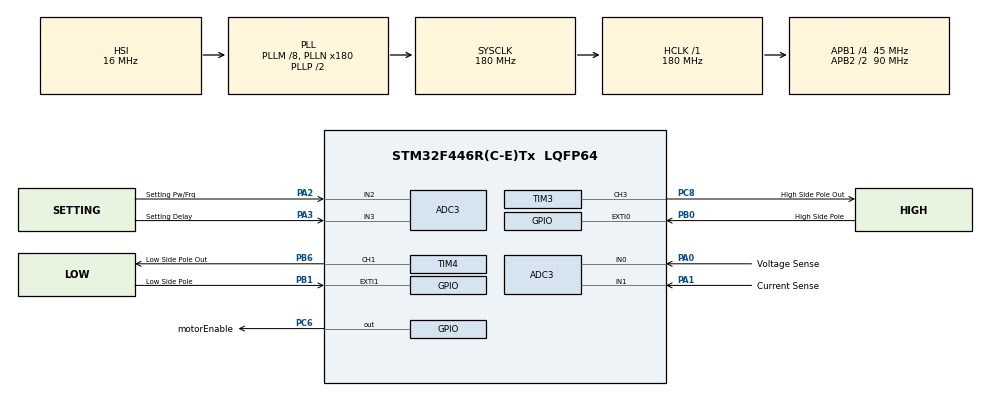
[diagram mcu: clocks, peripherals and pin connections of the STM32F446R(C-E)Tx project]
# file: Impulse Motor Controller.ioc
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ADC3.Channel-0\#ChannelRegularConversion=ADC_CHANNEL_0
ADC3.Channel-1\#ChannelRegularConversion=ADC_CHANNEL_1
ADC3.Channel-2\#ChannelRegularConversion=ADC_CHANNEL_2
ADC3.Channel-3\#ChannelRegularConversion=ADC_CHANNEL_3
ADC3.ContinuousConvMode=ENABLE
ADC3.EOCSelection=ADC_EOC_SEQ_CONV
ADC3.NbrOfConversion=4
ADC3.NbrOfConversionFlag=1
ADC3.Rank-0\#ChannelRegularConversion=1
ADC3.Rank-1\#ChannelRegularConversion=2
ADC3.Rank-2\#ChannelRegularConversion=3
ADC3.Rank-3\#ChannelRegularConversion=4
ADC3.SamplingTime-0\#ChannelRegularConversion=ADC_SAMPLETIME_15CYCLES
ADC3.SamplingTime-1\#ChannelRegularConversion=ADC_SAMPLETIME_15CYCLES
ADC3.SamplingTime-2\#ChannelRegularConversion=ADC_SAMPLETIME_15CYCLES
ADC3.SamplingTime-3\#ChannelRegularConversion=ADC_SAMPLETIME_15CYCLES
Dma.ADC3.0.Direction=DMA_PERIPH_TO_MEMORY
Dma.ADC3.0.FIFOMode=DMA_FIFOMODE_DISABLE
Dma.ADC3.0.Instance=DMA2_Stream0
Dma.ADC3.0.MemDataAlignment=DMA_MDATAALIGN_HALFWORD
Dma.ADC3.0.MemInc=DMA_MINC_ENABLE
Dma.ADC3.0.Mode=DMA_CIRCULAR
Dma.ADC3.0.PeriphDataAlignment=DMA_PDATAALIGN_HALFWORD
Dma.ADC3.0.PeriphInc=DMA_PINC_DISABLE
Dma.ADC3.0.Priority=DMA_PRIORITY_MEDIUM
Dma.Request0=ADC3
Mcu.Family=STM32F4
Mcu.Name=STM32F446R(C-E)Tx
Mcu.Package=LQFP64
NVIC.DMA2_Stream0_IRQn=true\:0\:0\:false\:false\:true\:false\:true\:true
NVIC.EXTI0_IRQn=true\:0\:0\:false\:false\:true\:true\:true\:true
NVIC.EXTI1_IRQn=true\:0\:0\:false\:false\:true\:true\:true\:true
NVIC.PriorityGroup=NVIC_PRIORITYGROUP_4
PA0-WKUP.GPIO_Label=Voltage Sense
PA0-WKUP.Signal=ADCx_IN0
PA1.GPIO_Label=Current Sense
PA1.Signal=ADCx_IN1
PA2.GPIO_Label=Setting Pw/Frq
PA2.Signal=ADCx_IN2
PA3.GPIO_Label=Setting Delay
PA3.Signal=ADCx_IN3
PB0.GPIO_Label=High Side Pole
PB0.GPIO_ModeDefaultEXTI=GPIO_MODE_IT_FALLING
PB0.Signal=GPXTI0
PB1.GPIO_Label=Low Side Pole
PB1.GPIO_ModeDefaultEXTI=GPIO_MODE_IT_FALLING
PB1.Signal=GPXTI1
PB6.GPIO_Label=Low Side Pole Out
PB6.GPIO_Speed=GPIO_SPEED_FREQ_VERY_HIGH
PB6.Signal=S_TIM4_CH1
PC6.GPIO_Label=motorEnable
PC6.PinState=GPIO_PIN_SET
PC6.Signal=GPIO_Output
PC8.GPIO_Label=High Side Pole Out
PC8.GPIO_Speed=GPIO_SPEED_FREQ_VERY_HIGH
PC8.Signal=S_TIM3_CH3
ProjectManager.HeapSize=0x200
ProjectManager.StackSize=0x400
ProjectManager.TargetToolchain=MDK-ARM V5.32
RCC.AHBFreq_Value=180000000
RCC.APB1CLKDivider=RCC_HCLK_DIV4
RCC.APB1Freq_Value=45000000
RCC.APB1TimFreq_Value=90000000
RCC.APB2CLKDivider=RCC_HCLK_DIV2
RCC.APB2Freq_Value=90000000
RCC.APB2TimFreq_Value=180000000
RCC.CortexFreq_Value=180000000
RCC.HCLKFreq_Value=180000000
RCC.PLLM=8
RCC.PLLN=180
RCC.SYSCLKFreq_VALUE=180000000
RCC.SYSCLKSource=RCC_SYSCLKSOURCE_PLLCLK
RCC.USBFreq_Value=180000000
RCC.VCOOutputFreq_Value=360000000
SH.ADCx_IN0.0=ADC3_IN0,IN0
SH.ADCx_IN1.0=ADC3_IN1,IN1
SH.ADCx_IN2.0=ADC3_IN2,IN2
SH.ADCx_IN3.0=ADC3_IN3,IN3
SH.S_TIM3_CH3.0=TIM3_CH3,PWM Generation3 CH3
SH.S_TIM4_CH1.0=TIM4_CH1,PWM Generation1 CH1
TIM3.AutoReloadPreload=TIM_AUTORELOAD_PRELOAD_ENABLE
TIM3.Channel-PWM\ Generation3\ CH3=TIM_CHANNEL_3
TIM3.OC3Preload_PWM=ENABLE
TIM3.OCMode_PWM-PWM\ Generation3\ CH3=TIM_OCMODE_PWM1
TIM3.OCPolarity_3=TIM_OCPOLARITY_LOW
TIM3.Period=65535
TIM3.Prescaler=180-1
TIM3.Pulse-PWM\ Generation3\ CH3=1
TIM4.AutoReloadPreload=TIM_AUTORELOAD_PRELOAD_ENABLE
TIM4.Channel-PWM\ Generation1\ CH1=TIM_CHANNEL_1
TIM4.OC1Preload_PWM=ENABLE
TIM4.OCMode_PWM-PWM\ Generation1\ CH1=TIM_OCMODE_PWM1
TIM4.OCPolarity_1=TIM_OCPOLARITY_LOW
TIM4.Period=65535
TIM4.Prescaler=180-1
TIM4.Pulse-PWM\ Generation1\ CH1=1
TIM5.AutoReloadPreload=TIM_AUTORELOAD_PRELOAD_ENABLE
TIM5.Prescaler=90-1
VP_TIM3_VS_ClockSourceINT.Mode=Internal
VP_TIM3_VS_OPM.Mode=OPM_bit
VP_TIM4_VS_ClockSourceINT.Mode=Internal
VP_TIM4_VS_OPM.Mode=OPM_bit
VP_TIM5_VS_ClockSourceINT.Mode=Internal
board=custom

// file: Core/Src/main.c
/* USER CODE BEGIN Header */
/**
  ******************************************************************************
  * @file           : main.c
  * @brief          : Main program body
  ******************************************************************************
  * @attention
  *
  * Copyright (c) 2023 STMicroelectronics.
  * All rights reserved.
  *
  * This software is licensed under terms that can be found in the LICENSE file
  * in the root directory of this software component.
  * If no LICENSE file comes with this software, it is provided AS-IS.
  *
  ******************************************************************************
  */
/* USER CODE END Header */
#include "main.h"

ADC_HandleTypeDef hadc3;
DMA_HandleTypeDef hdma_adc3;

TIM_HandleTypeDef htim3;
TIM_HandleTypeDef htim4;
TIM_HandleTypeDef htim5;

/* USER CODE BEGIN PV */

uint32_t cycleTime;
uint32_t halfTime;

uint32_t pulseDelay = 0;
uint32_t pulseWidth = 1000;

int highPulseState;
int lowPulseState;

float uniPolePass = 3.0;
float rpmPulse;
float hertzPulse;

uint32_t delaySetpoint = 0;
uint32_t widthSetpoint = 1000;

int motorEnable;
int motorRunning;
int prevMotorEnable;

float rpmSetPulse = 500;
float rpmSetPulsePrev;
float rpmActSetPulse = 500;
float rpmPulseIncremental;
float rpmPulseAttackTime = 100;
float minimumMotorFreq = 2.0;

uint32_t startupFrequency = 500000;

float error;
float cumError;
float rateError;
float lastError;
float multiplierPid;
float kp = 3.0;
float ki = 0.00045;
float kd = 0.01;
float PID_MIN = 1.0;
float PID_MAX = 1000.0;

int incrementalPulseDone;
int motorAtSpeed;

int pidEnable = 1;
int pulseCycle;
/* USER CODE END PV */

void SystemClock_Config(void);
static void MX_GPIO_Init(void);
static void MX_DMA_Init(void);
static void MX_TIM3_Init(void);
static void MX_TIM4_Init(void);
static void MX_TIM5_Init(void);
static void MX_ADC3_Init(void);
/* USER CODE BEGIN PFP */

static void pulseControl(void);
static void PIDcalculations(void);
static void RPMmotorRamp(void);
static void motorStartup(void);
static void motorRunningState(void);
static void motorCalculations(void);
static void motorEnableSafe(void);

/* USER CODE END PFP */

int main(void)
{

  /* MCU Configuration--------------------------------------------------------*/

  /* Reset of all peripherals, Initializes the Flash interface and the Systick. */
  HAL_Init();

  /* Configure the system clock */
  SystemClock_Config();

  /* Initialize all configured peripherals */
  MX_GPIO_Init();
  MX_DMA_Init();
  MX_TIM3_Init();
  MX_TIM4_Init();
  MX_TIM5_Init();
  MX_ADC3_Init();
  /* USER CODE BEGIN 2 */

	HAL_TIM_Base_Start(&htim5);
		GPIOC->BSRR |= (1<<6);
		//GPIOC->BSRR |= (1<<6) <<16;
  /* USER CODE END 2 */

  /* Infinite loop */
  while (1)
  {

    /* USER CODE BEGIN 3 */
		// handle the motor enable/disable function
		motorEnableSafe();

		// check if the motor is enabled
		if(motorEnable == 1){

			// handle the motor pulses
			pulseControl();
			// handle motor cold start
			//motorStartup();

			// check if pid is enabled
			if((pidEnable == 1)){
				// do PID calculations
				PIDcalculations();
			}

			// ramp the motor rpm setpoint
			RPMmotorRamp();
		}

		// do motor RPM calculations and motor run parameters
		motorCalculations();

		// determine and control motor state
		motorRunningState();
	}
  /* USER CODE END 3 */
}

void SystemClock_Config(void)
{
  RCC_OscInitTypeDef RCC_OscInitStruct = {0};
  RCC_ClkInitTypeDef RCC_ClkInitStruct = {0};

  /** Configure the main internal regulator output voltage
  */
  __HAL_RCC_PWR_CLK_ENABLE();
  __HAL_PWR_VOLTAGESCALING_CONFIG(PWR_REGULATOR_VOLTAGE_SCALE1);

  /** Initializes the RCC Oscillators according to the specified parameters
  * in the RCC_OscInitTypeDef structure.
  */
  RCC_OscInitStruct.OscillatorType = RCC_OSCILLATORTYPE_HSI;
  RCC_OscInitStruct.HSIState = RCC_HSI_ON;
  RCC_OscInitStruct.HSICalibrationValue = RCC_HSICALIBRATION_DEFAULT;
  RCC_OscInitStruct.PLL.PLLState = RCC_PLL_ON;
  RCC_OscInitStruct.PLL.PLLSource = RCC_PLLSOURCE_HSI;
  RCC_OscInitStruct.PLL.PLLM = 8;
  RCC_OscInitStruct.PLL.PLLN = 180;
  RCC_OscInitStruct.PLL.PLLP = RCC_PLLP_DIV2;
  RCC_OscInitStruct.PLL.PLLQ = 2;
  RCC_OscInitStruct.PLL.PLLR = 2;
  if (HAL_RCC_OscConfig(&RCC_OscInitStruct) != HAL_OK)
  {
    Error_Handler();
  }

  /** Activate the Over-Drive mode
  */
  if (HAL_PWREx_EnableOverDrive() != HAL_OK)
  {
    Error_Handler();
  }

  /** Initializes the CPU, AHB and APB buses clocks
  */
  RCC_ClkInitStruct.ClockType = RCC_CLOCKTYPE_HCLK|RCC_CLOCKTYPE_SYSCLK
                              |RCC_CLOCKTYPE_PCLK1|RCC_CLOCKTYPE_PCLK2;
  RCC_ClkInitStruct.SYSCLKSource = RCC_SYSCLKSOURCE_PLLCLK;
  RCC_ClkInitStruct.AHBCLKDivider = RCC_SYSCLK_DIV1;
  RCC_ClkInitStruct.APB1CLKDivider = RCC_HCLK_DIV4;
  RCC_ClkInitStruct.APB2CLKDivider = RCC_HCLK_DIV2;

  if (HAL_RCC_ClockConfig(&RCC_ClkInitStruct, FLASH_LATENCY_5) != HAL_OK)
  {
    Error_Handler();
  }
}

static void MX_ADC3_Init(void)
{

  ADC_ChannelConfTypeDef sConfig = {0};

  /** Configure the global features of the ADC (Clock, Resolution, Data Alignment and number of conversion)
  */
  hadc3.Instance = ADC3;
  hadc3.Init.ClockPrescaler = ADC_CLOCK_SYNC_PCLK_DIV4;
  hadc3.Init.Resolution = ADC_RESOLUTION_12B;
  hadc3.Init.ScanConvMode = ENABLE;
  hadc3.Init.ContinuousConvMode = ENABLE;
  hadc3.Init.DiscontinuousConvMode = DISABLE;
  hadc3.Init.ExternalTrigConvEdge = ADC_EXTERNALTRIGCONVEDGE_NONE;
  hadc3.Init.ExternalTrigConv = ADC_SOFTWARE_START;
  hadc3.Init.DataAlign = ADC_DATAALIGN_RIGHT;
  hadc3.Init.NbrOfConversion = 4;
  hadc3.Init.DMAContinuousRequests = DISABLE;
  hadc3.Init.EOCSelection = ADC_EOC_SEQ_CONV;
  if (HAL_ADC_Init(&hadc3) != HAL_OK)
  {
    Error_Handler();
  }

  /** Configure for the selected ADC regular channel its corresponding rank in the sequencer and its sample time.
  */
  sConfig.Channel = ADC_CHANNEL_0;
  sConfig.Rank = 1;
  sConfig.SamplingTime = ADC_SAMPLETIME_15CYCLES;
  if (HAL_ADC_ConfigChannel(&hadc3, &sConfig) != HAL_OK)
  {
    Error_Handler();
  }

  /** Configure for the selected ADC regular channel its corresponding rank in the sequencer and its sample time.
  */
  sConfig.Channel = ADC_CHANNEL_1;
  sConfig.Rank = 2;
  if (HAL_ADC_ConfigChannel(&hadc3, &sConfig) != HAL_OK)
  {
    Error_Handler();
  }

  /** Configure for the selected ADC regular channel its corresponding rank in the sequencer and its sample time.
  */
  sConfig.Channel = ADC_CHANNEL_2;
  sConfig.Rank = 3;
  if (HAL_ADC_ConfigChannel(&hadc3, &sConfig) != HAL_OK)
  {
    Error_Handler();
  }

  /** Configure for the selected ADC regular channel its corresponding rank in the sequencer and its sample time.
  */
  sConfig.Channel = ADC_CHANNEL_3;
  sConfig.Rank = 4;
  if (HAL_ADC_ConfigChannel(&hadc3, &sConfig) != HAL_OK)
  {
    Error_Handler();
  }

}

static void MX_TIM3_Init(void)
{

  TIM_ClockConfigTypeDef sClockSourceConfig = {0};
  TIM_MasterConfigTypeDef sMasterConfig = {0};
  TIM_OC_InitTypeDef sConfigOC = {0};

  htim3.Instance = TIM3;
  htim3.Init.Prescaler = 180-1;
  htim3.Init.CounterMode = TIM_COUNTERMODE_UP;
  htim3.Init.Period = 65535;
  htim3.Init.ClockDivision = TIM_CLOCKDIVISION_DIV1;
  htim3.Init.AutoReloadPreload = TIM_AUTORELOAD_PRELOAD_ENABLE;
  if (HAL_TIM_Base_Init(&htim3) != HAL_OK)
  {
    Error_Handler();
  }
  sClockSourceConfig.ClockSource = TIM_CLOCKSOURCE_INTERNAL;
  if (HAL_TIM_ConfigClockSource(&htim3, &sClockSourceConfig) != HAL_OK)
  {
    Error_Handler();
  }
  if (HAL_TIM_PWM_Init(&htim3) != HAL_OK)
  {
    Error_Handler();
  }
  if (HAL_TIM_OnePulse_Init(&htim3, TIM_OPMODE_SINGLE) != HAL_OK)
  {
    Error_Handler();
  }
  sMasterConfig.MasterOutputTrigger = TIM_TRGO_RESET;
  sMasterConfig.MasterSlaveMode = TIM_MASTERSLAVEMODE_DISABLE;
  if (HAL_TIMEx_MasterConfigSynchronization(&htim3, &sMasterConfig) != HAL_OK)
  {
    Error_Handler();
  }
  sConfigOC.OCMode = TIM_OCMODE_PWM1;
  sConfigOC.Pulse = 1;
  sConfigOC.OCPolarity = TIM_OCPOLARITY_LOW;
  sConfigOC.OCFastMode = TIM_OCFAST_DISABLE;
  if (HAL_TIM_PWM_ConfigChannel(&htim3, &sConfigOC, TIM_CHANNEL_3) != HAL_OK)
  {
    Error_Handler();
  }
  /* USER CODE BEGIN TIM3_Init 2 */

	TIM_CCxChannelCmd(htim3.Instance, TIM_CHANNEL_3,TIM_CCx_ENABLE);
	__HAL_TIM_CLEAR_IT(&htim3, TIM_IT_UPDATE);
	__HAL_TIM_ENABLE_IT(&htim3, TIM_IT_UPDATE);
  /* USER CODE END TIM3_Init 2 */
  HAL_TIM_MspPostInit(&htim3);

}

static void MX_TIM4_Init(void)
{

  TIM_ClockConfigTypeDef sClockSourceConfig = {0};
  TIM_MasterConfigTypeDef sMasterConfig = {0};
  TIM_OC_InitTypeDef sConfigOC = {0};

  htim4.Instance = TIM4;
  htim4.Init.Prescaler = 180-1;
  htim4.Init.CounterMode = TIM_COUNTERMODE_UP;
  htim4.Init.Period = 65535;
  htim4.Init.ClockDivision = TIM_CLOCKDIVISION_DIV1;
  htim4.Init.AutoReloadPreload = TIM_AUTORELOAD_PRELOAD_ENABLE;
  if (HAL_TIM_Base_Init(&htim4) != HAL_OK)
  {
    Error_Handler();
  }
  sClockSourceConfig.ClockSource = TIM_CLOCKSOURCE_INTERNAL;
  if (HAL_TIM_ConfigClockSource(&htim4, &sClockSourceConfig) != HAL_OK)
  {
    Error_Handler();
  }
  if (HAL_TIM_PWM_Init(&htim4) != HAL_OK)
  {
    Error_Handler();
  }
  if (HAL_TIM_OnePulse_Init(&htim4, TIM_OPMODE_SINGLE) != HAL_OK)
  {
    Error_Handler();
  }
  sMasterConfig.MasterOutputTrigger = TIM_TRGO_RESET;
  sMasterConfig.MasterSlaveMode = TIM_MASTERSLAVEMODE_DISABLE;
  if (HAL_TIMEx_MasterConfigSynchronization(&htim4, &sMasterConfig) != HAL_OK)
  {
    Error_Handler();
  }
  sConfigOC.OCMode = TIM_OCMODE_PWM1;
  sConfigOC.Pulse = 1;
  sConfigOC.OCPolarity = TIM_OCPOLARITY_LOW;
  sConfigOC.OCFastMode = TIM_OCFAST_DISABLE;
  if (HAL_TIM_PWM_ConfigChannel(&htim4, &sConfigOC, TIM_CHANNEL_1) != HAL_OK)
  {
    Error_Handler();
  }
  /* USER CODE BEGIN TIM4_Init 2 */

	TIM_CCxChannelCmd(htim4.Instance, TIM_CHANNEL_1,TIM_CCx_ENABLE);
	__HAL_TIM_CLEAR_IT(&htim4, TIM_IT_UPDATE);
	__HAL_TIM_ENABLE_IT(&htim4, TIM_IT_UPDATE);
  /* USER CODE END TIM4_Init 2 */
  HAL_TIM_MspPostInit(&htim4);

}

static void MX_TIM5_Init(void)
{

  TIM_ClockConfigTypeDef sClockSourceConfig = {0};
  TIM_MasterConfigTypeDef sMasterConfig = {0};

  htim5.Instance = TIM5;
  htim5.Init.Prescaler = 90-1;
  htim5.Init.CounterMode = TIM_COUNTERMODE_UP;
  htim5.Init.Period = 4294967295;
  htim5.Init.ClockDivision = TIM_CLOCKDIVISION_DIV1;
  htim5.Init.AutoReloadPreload = TIM_AUTORELOAD_PRELOAD_ENABLE;
  if (HAL_TIM_Base_Init(&htim5) != HAL_OK)
  {
    Error_Handler();
  }
  sClockSourceConfig.ClockSource = TIM_CLOCKSOURCE_INTERNAL;
  if (HAL_TIM_ConfigClockSource(&htim5, &sClockSourceConfig) != HAL_OK)
  {
    Error_Handler();
  }
  sMasterConfig.MasterOutputTrigger = TIM_TRGO_RESET;
  sMasterConfig.MasterSlaveMode = TIM_MASTERSLAVEMODE_DISABLE;
  if (HAL_TIMEx_MasterConfigSynchronization(&htim5, &sMasterConfig) != HAL_OK)
  {
    Error_Handler();
  }

}

static void MX_DMA_Init(void)
{

  /* DMA controller clock enable */
  __HAL_RCC_DMA2_CLK_ENABLE();

  /* DMA interrupt init */
  /* DMA2_Stream0_IRQn interrupt configuration */
  HAL_NVIC_SetPriority(DMA2_Stream0_IRQn, 0, 0);
  HAL_NVIC_EnableIRQ(DMA2_Stream0_IRQn);

}

static void MX_GPIO_Init(void)
{
  GPIO_InitTypeDef GPIO_InitStruct = {0};

  /* GPIO Ports Clock Enable */
  __HAL_RCC_GPIOA_CLK_ENABLE();
  __HAL_RCC_GPIOB_CLK_ENABLE();
  __HAL_RCC_GPIOC_CLK_ENABLE();

  /*Configure GPIO pin Output Level */
  HAL_GPIO_WritePin(motorEnable_GPIO_Port, motorEnable_Pin, GPIO_PIN_SET);

  /*Configure GPIO pins : High_Side_Pole_Pin Low_Side_Pole_Pin */
  GPIO_InitStruct.Pin = High_Side_Pole_Pin|Low_Side_Pole_Pin;
  GPIO_InitStruct.Mode = GPIO_MODE_IT_FALLING;
  GPIO_InitStruct.Pull = GPIO_NOPULL;
  HAL_GPIO_Init(GPIOB, &GPIO_InitStruct);

  /*Configure GPIO pin : motorEnable_Pin */
  GPIO_InitStruct.Pin = motorEnable_Pin;
  GPIO_InitStruct.Mode = GPIO_MODE_OUTPUT_PP;
  GPIO_InitStruct.Pull = GPIO_NOPULL;
  GPIO_InitStruct.Speed = GPIO_SPEED_FREQ_LOW;
  HAL_GPIO_Init(motorEnable_GPIO_Port, &GPIO_InitStruct);

  /* EXTI interrupt init*/
  HAL_NVIC_SetPriority(EXTI0_IRQn, 0, 0);
  HAL_NVIC_EnableIRQ(EXTI0_IRQn);

  HAL_NVIC_SetPriority(EXTI1_IRQn, 0, 0);
  HAL_NVIC_EnableIRQ(EXTI1_IRQn);

}

/* USER CODE BEGIN 4 */
void pulseControl(){
	// handle the highside pulse
	if((highPulseState == 1) && (TIM5->CNT >= (pulseDelay)) && (pulseCycle == 0)){
		incrementalPulseDone = 0; // reset incremental
		highPulseState = 2; // set state int
		pulseCycle = 1;
		TIM3->ARR = pulseWidth; // set pulsewidth
		__HAL_TIM_ENABLE(&htim3); // enable one shot pwm timer
	}

	// handle the lowside pulse
	if((lowPulseState == 1) && (TIM5->CNT >= (pulseDelay + halfTime)) && (pulseCycle == 1)){
		incrementalPulseDone = 0; // reset incremental bit
		lowPulseState = 2; // set state int
		pulseCycle = 0;
		TIM4->ARR = pulseWidth; // set pulsewidth
		__HAL_TIM_ENABLE(&htim4); // enable one shot pwm timer
	}

	if((lowPulseState == 1) && (highPulseState == 1) && (motorRunning == 0)){
		lowPulseState = 0;
		highPulseState = 0;
	}
}

void motorEnableSafe(void){
	// enable/disable the motor on a rising/falling trigger
	if((motorEnable == 1) && (prevMotorEnable == 0)){
		GPIOC->BSRR |= (1<<6) <<16;
		pulseWidth = 500;
		TIM5->CNT = 0;
		prevMotorEnable = 1;
		rpmActSetPulse = rpmSetPulse / 3;
	}
	else if((motorEnable == 0) && (prevMotorEnable == 1)){
		GPIOC->BSRR |= (1<<6);
		prevMotorEnable = 0;
		lowPulseState = 0;
		highPulseState = 0;
		cycleTime = 0;
		halfTime = 0;
	}

	// if the motor is off reset all variable of the PID
	if((pidEnable == 0) || (motorEnable == 0)){
		error = 0.0;
		cumError = 0.0;
		rateError = 0.0;
		lastError = 0.0;
		multiplierPid = 1000.0;
	}
}

void PIDcalculations(void){
	if((motorRunning == 1) && ((highPulseState == 2) || (lowPulseState == 2))){
		error = (rpmActSetPulse - rpmPulse); // determine Proportional
		cumError += error; // determine Integral
		rateError = (error - lastError); // determine Derivative
		multiplierPid = kp*error + ki*cumError + kd*rateError; // sum them together
		lastError = error;  // record error for next cycle

		// catch duty cycle overflow
		if(multiplierPid > PID_MAX){
			multiplierPid = PID_MAX;
		}
		else if(multiplierPid < PID_MIN){
			multiplierPid = PID_MIN;
		}
	}
}

void RPMmotorRamp(void){
	// setpoint change
	if((rpmSetPulse != rpmSetPulsePrev)){
		rpmSetPulsePrev = rpmSetPulse;
		motorAtSpeed = 0;

		// calculate new incremental
		if(rpmSetPulse > rpmActSetPulse){
			rpmPulseIncremental = (rpmSetPulse - rpmActSetPulse) / rpmPulseAttackTime;
		}
		else if(rpmSetPulse < rpmActSetPulse){
			rpmPulseIncremental = (rpmActSetPulse - rpmSetPulse) / rpmPulseAttackTime;
		}
	}

	// do the actual rampup to the setpoint
	if((TIM5->CNT >= 10) && (incrementalPulseDone == 0)){
		incrementalPulseDone = 1; // set the done bit for one pulse mode
		// ramp up/down for the rpm setpoint
		if((rpmSetPulse > (rpmActSetPulse * 1.02)) && (motorAtSpeed == 0)){
			rpmActSetPulse += rpmPulseIncremental;
		}
		else if((rpmSetPulse < (rpmActSetPulse * 0.98)) && (motorAtSpeed == 0)){
			rpmActSetPulse -= rpmPulseIncremental;
		}
		else{
			rpmActSetPulse = rpmSetPulse;
			motorAtSpeed = 1;
		}
	}
}

void motorStartup(void){
	// check if the motor is not running running yet
	if((motorRunning == 0)){
		// set startup pulses
		if((TIM5->CNT > 1) && (highPulseState == 0) && (lowPulseState != 1)){
			cycleTime = startupFrequency;
			highPulseState = 1;
			halfTime = startupFrequency / 2.0;
		}

		if((highPulseState == 2)){
			lowPulseState = 1;
		}

		// reset timer
		if(TIM5->CNT > startupFrequency){
			TIM5->CNT = 0;
		}
	}
}

void motorRunningState(void){
	// figure if the motor is above minimum hertz
	if((hertzPulse > minimumMotorFreq)){
		motorRunning = 1;
	}
	else if((hertzPulse > minimumMotorFreq) && (pidEnable == 1)){
		motorRunning = 1;
		pulseWidth = 1000;
	}
	else{
		motorRunning = 0;
	}

	// reset pulse states
	if(highPulseState == 2){
		highPulseState = 0;
	}
	if(lowPulseState == 2){
		lowPulseState = 0;
	}

	// if motor disabled reset ramp setpoint
	if(motorEnable == 0){
		rpmActSetPulse = 0;
	}
}

void motorCalculations(void){
	if(((highPulseState == 0) && (lowPulseState == 0)) || ((highPulseState == 2) && (lowPulseState == 0)) || ((highPulseState == 0) && (lowPulseState == 2))){ // if no pulse is running
		if(cycleTime > 0){ // catch divide by 0
			hertzPulse = (1000000.0 / (float) cycleTime); // calculate motor coil hertz
			rpmPulse = (hertzPulse / uniPolePass)  * 60.0; // calculate rpm
			pulseDelay = (((((float) cycleTime / 2.0) / 1000.0) * (float) delaySetpoint)); // calculate pulse time delay
			pulseWidth = (uint32_t) (((((((float) cycleTime / 2.0) / 1000.0) * (float) widthSetpoint) / 2.0) / 1000.0) * (float)multiplierPid); // calculate pulse width

			if(pulseWidth > 65535){ // catch overflow
				pulseWidth = 65534;
			}
		}
		else{ // set pulse hz and rpm to 0
			rpmPulse = 0.0;
			hertzPulse = 0.0;
		}
	}
}
/* USER CODE END 4 */

void Error_Handler(void)
{
  __disable_irq();
  while (1)
  {
  }
}
